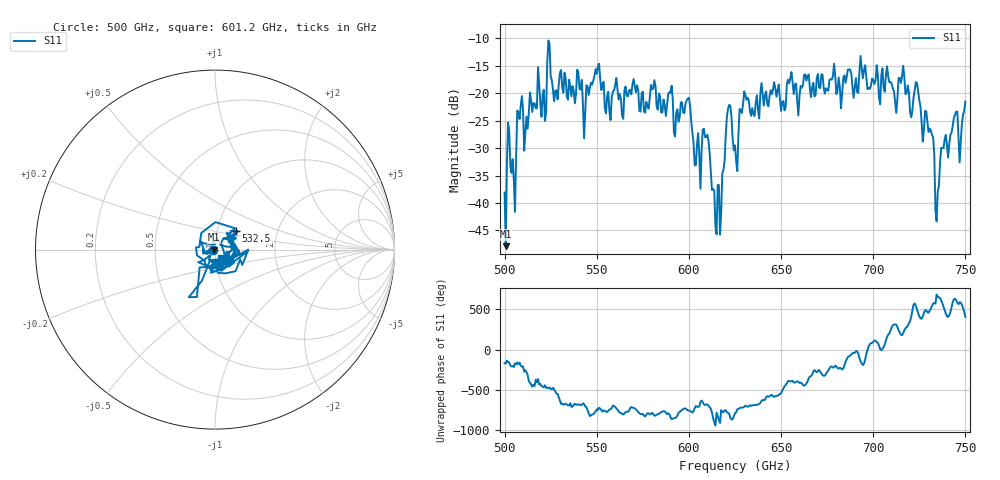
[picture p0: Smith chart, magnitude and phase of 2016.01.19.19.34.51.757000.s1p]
!Created with skrf (http://scikit-rf.org).
# GHz S RI R 50.0
!freq ReS11 ImS11
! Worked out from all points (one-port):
!   401 points, 500 GHz to 750 GHz, reference 50 ohm
!   lowest |S11| = -47.9 dB at 500.6 GHz (marker M1), VSWR 1.01, Z = 49.6 - j0.0381 ohm
!   |S11| at or under -10 dB: start of sweep to end of sweep
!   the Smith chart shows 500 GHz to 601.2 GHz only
!   S11 on the Smith chart (normalised r, x): 500 GHz: 0.98, -0.00; 532.5 GHz: 1.23, +0.26; 601.2 GHz: 1.07, -0.09
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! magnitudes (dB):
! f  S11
! 500 GHz  -38.1
! 500.6 GHz  -47.9
! 502.5 GHz  -26.9
! 505 GHz  -35.7
! 508.1 GHz  -24.7
! 521.2 GHz  -19.3
! 524.4 GHz  -11.0
! 527.5 GHz  -19.5
! 531.2 GHz  -18.9
! 532.5 GHz  -16.3
! 550 GHz  -16.4
! 562.5 GHz  -20.1
! 580.6 GHz  -19.1
! 593.8 GHz  -22.9
! 601.2 GHz  -25.0
! 605 GHz  -27.3
! 609.4 GHz  -28.0
! 615.6 GHz  -36.7
! 621.2 GHz  -22.8
! 625 GHz  -29.5
! 630.6 GHz  -20.3
! 656.2 GHz  -18.0
! 687.5 GHz  -15.7
! 718.8 GHz  -18.6
! 729.4 GHz  -25.3
! 735 GHz  -37.9
! 738.1 GHz  -30.0
! 750 GHz  -21.5
